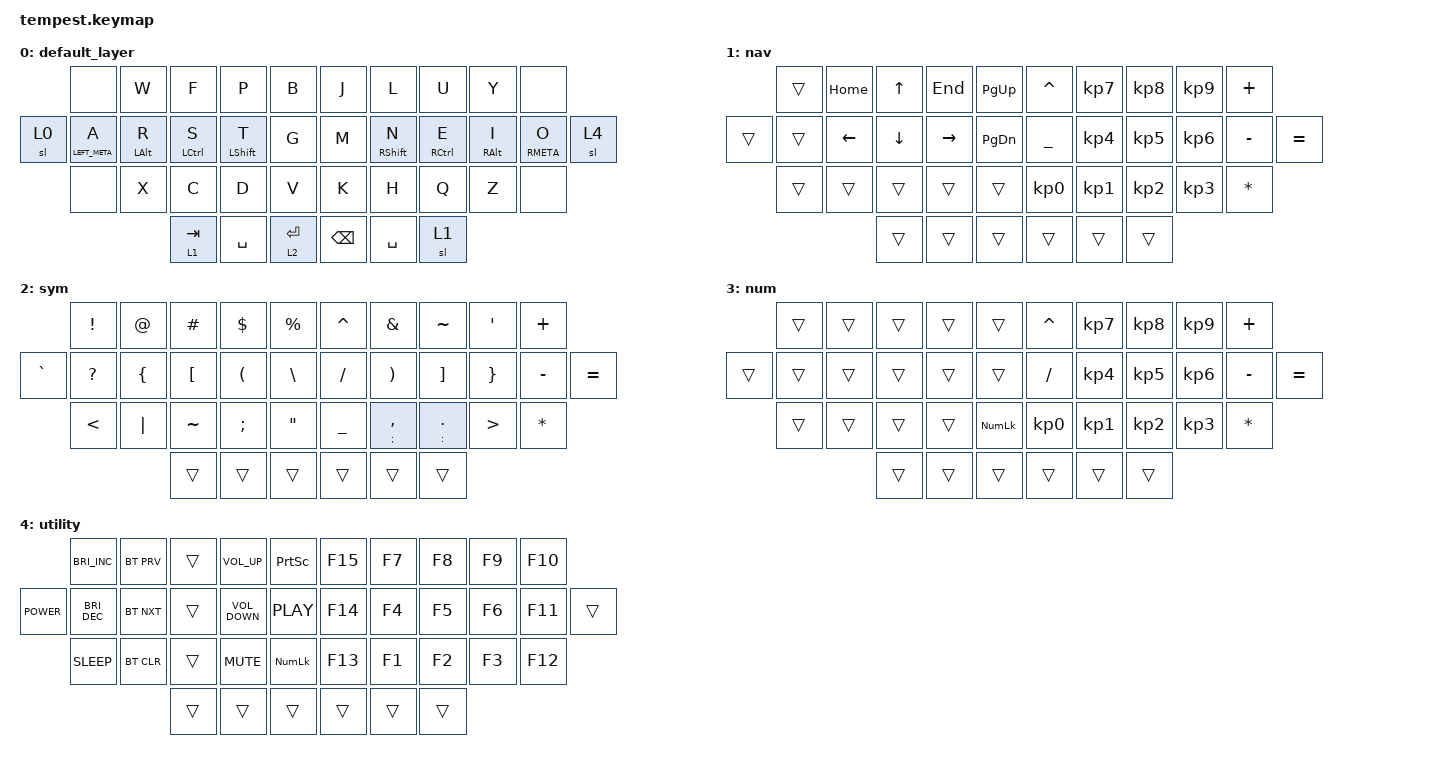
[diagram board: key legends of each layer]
/*
 * Copyright (c) 2020 The ZMK Contributors
 *
 * SPDX-License-Identifier: MIT
 */

#define ZMK_POINTING_DEFAULT_MOVE_VAL 1000  // default: 600
#define ZMK_POINTING_DEFAULT_SCRL_VAL 20    // default: 10

#include <behaviors.dtsi>
#include <dt-bindings/zmk/bt.h>
#include <dt-bindings/zmk/keys.h>

&sk {
    release-after-ms = <1000>;
    quick-release;
    lazy;
    ignore-modifiers;
};

&mmv {
    acceleration-exponent = <1>;          // 1
    time-to-max-speed-ms = <500>;         // 300
    delay-ms = <0>;                       // 0
};

&lt {
    tapping-term-ms = <200>; // default 200
    flavor = "balanced"; // or hold-preferred or tap-preferred
    quick-tap-ms = <150>;
};

&mt {
    quick-tap-ms = <100>;
    tapping-term-ms = <200>;
    flavor = "tap-preferred";
};

/*       0   1   2   3   4      ||    5   6   7   8   9 */
/* {10}  11  12  13  14  15     ||    16  17  18  19  20  {21} */
/*       22  23  24  25  26     ||    27  28  29  30  31 */
/*                   32 33 34   ||  35 36 37 */

/ {
    combos {
        compatible = "zmk,combos";

        combo_esc {
            bindings = <&kp ESCAPE>;
            key-positions = <1 0>;
            layers = <0>;
        };

        combo_CAPS_LOCK {
            bindings = <&kp CAPSLOCK>;
            key-positions = <4 5>;
            layers = <0>;
        };

        combo_underscore {
            bindings = <&kp UNDER>;
            key-positions = <24 25>;
            layers = <0>;
        };

        combo_dash {
            bindings = <&kp MINUS>;
            key-positions = <3 2>;
            layers = <0>;
        };

        combo_single-quote {
            bindings = <&kp SINGLE_QUOTE>;
            key-positions = <6 7>;
            layers = <0>;
        };

        combo_double-quote {
            bindings = <&kp AT_SIGN>;
            key-positions = <7 8>;
            layers = <0>;
        };

        combo_equal {
            bindings = <&kp EQUAL>;
            key-positions = <28 29>;
            layers = <0>;
        };

        combo_hash {
            bindings = <&kp NON_US_HASH>;
            key-positions = <29 30>;
            layers = <0>;
        };

        combo_esc_home {
            bindings = <&kp ESCAPE>;
            key-positions = <11 12>;
            layers = <0>;
        };

        combo_tab {
            bindings = <&kp TAB>;
            key-positions = <22 23>;
            layers = <0>;
        };

        combo_colon {
            bindings = <&kp COLON>;
            key-positions = <1 2>;
            layers = <0>;
        };

        /* combos on base layer, left side, for boot shortcuts like BIOS with half the keyboard plugged in */

        combo_boot_del {
            bindings = <&kp DEL>;
            key-positions = <32 33 34 4>;
            layers = <0>;
        };

        left-return {
            bindings = <&kp RETURN>;
            key-positions = <12 13 14>;
        };

        right-return {
            bindings = <&kp RET>;
            key-positions = <17 18 19>;
        };
    };

    keymap {
        compatible = "zmk,keymap";

        default_layer {
            // -----------------------------------------------------------------------------------------
            //          ||  Q  |  W  |  E  |  R  |  T  ||                   ||  Y  |  U   |  I  |  O  |  P  || 
            //  [extra] ||  A  |  S  |  D  |  F  |  G  ||                   ||  H  |  J   |  K  |  L  |  ;  ||  [extra] 
            //          ||  Z  |  X  |  C  |  V  |  B  ||                   ||  N  |  M   |  ,  |  .  |  /  || 
            //                               | CTL | SPC | TAB ||   || ENT | BKS | SFT  |

            bindings = <
       &none            &kp W       &kp F        &kp P         &kp B        &kp J          &kp L         &kp U        &kp Y       &none
&sl 0  &mt LEFT_META A  &mt LALT R  &mt LCTRL S  &mt LSHIFT T  &kp G        &kp M          &mt RSHIFT N  &mt RCTRL E  &mt RALT I  &mt RMETA O  &sl 4
       &none            &kp X       &kp C        &kp D         &kp V        &kp K          &kp H         &kp Q        &kp Z       &none
                                    &lt 1 TAB    &kp SPACE     &lt 2 ENTER  &kp BACKSPACE  &kp SPACE     &sl 1
            >;
        };

        nav {
            bindings = <
        &trans  &kp HOME  &kp UP_ARROW  &kp END    &kp PG_UP  &kp CARET        &kp KP_NUMBER_7  &kp KP_NUMBER_8  &kp KP_NUMBER_9  &kp PLUS
&trans  &trans  &kp LEFT  &kp DOWN      &kp RIGHT  &kp PG_DN  &kp UNDER        &kp KP_NUMBER_4  &kp KP_NUMBER_5  &kp KP_NUMBER_6  &kp MINUS     &kp EQUAL
        &trans  &trans    &trans        &trans     &trans     &kp KP_NUMBER_0  &kp KP_NUMBER_1  &kp KP_NUMBER_2  &kp KP_NUMBER_3  &kp ASTERISK
                          &trans        &trans     &trans     &trans           &trans           &trans
            >;
        };

        sym {
            bindings = <
           &kp EXCLAMATION  &kp AT_SIGN     &kp HASH          &kp DOLLAR            &kp PERCENT        &kp CARET       &kp AMPERSAND          &kp TILDE          &kp SQT           &kp PLUS
&kp GRAVE  &kp QUESTION     &kp LEFT_BRACE  &kp LEFT_BRACKET  &kp LEFT_PARENTHESIS  &kp BACKSLASH      &kp SLASH       &kp RIGHT_PARENTHESIS  &kp RIGHT_BRACKET  &kp RIGHT_BRACE   &kp MINUS     &kp EQUAL
           &kp LESS_THAN    &kp PIPE        &kp TILDE         &kp SEMICOLON         &kp DOUBLE_QUOTES  &kp UNDERSCORE  &mt SEMICOLON COMMA    &mt COLON PERIOD   &kp GREATER_THAN  &kp ASTERISK
                                            &trans            &trans                &trans             &trans          &trans                 &trans
            >;
        };

        num {
            bindings = <
        &trans  &trans  &trans  &trans  &trans          &kp CARET        &kp KP_NUMBER_7  &kp KP_NUMBER_8  &kp KP_NUMBER_9  &kp PLUS
&trans  &trans  &trans  &trans  &trans  &trans          &kp SLASH        &kp KP_NUMBER_4  &kp KP_NUMBER_5  &kp KP_NUMBER_6  &kp MINUS     &kp EQUAL
        &trans  &trans  &trans  &trans  &kp KP_NUMLOCK  &kp KP_NUMBER_0  &kp KP_NUMBER_1  &kp KP_NUMBER_2  &kp KP_NUMBER_3  &kp ASTERISK
                        &trans  &trans  &trans          &trans           &trans           &trans
            >;
        };

        utility {
            bindings = <
             &kp C_BRIGHTNESS_INC  &bt BT_PRV  &trans  &kp C_VOLUME_UP    &kp PRINTSCREEN  &kp F15  &kp F7  &kp F8  &kp F9  &kp F10
&kp K_POWER  &kp C_BRIGHTNESS_DEC  &bt BT_NXT  &trans  &kp C_VOLUME_DOWN  &kp C_PLAY       &kp F14  &kp F4  &kp F5  &kp F6  &kp F11  &trans
             &kp K_SLEEP           &bt BT_CLR  &trans  &kp K_MUTE         &kp KP_NUM       &kp F13  &kp F1  &kp F2  &kp F3  &kp F12
                                               &trans  &trans             &trans           &trans   &trans  &trans
            >;
        };
    };

    conditional_layers {
        compatible = "zmk,conditional-layers";

        tiling {
            if-layers = <2 5>;
            then-layer = <5>;
        };
    };
};
